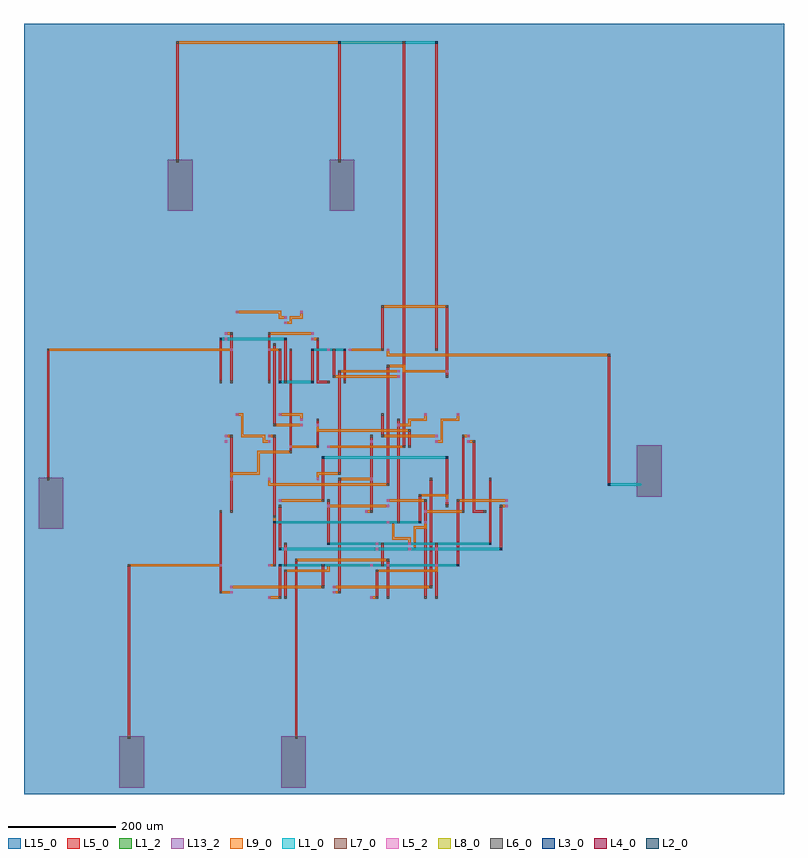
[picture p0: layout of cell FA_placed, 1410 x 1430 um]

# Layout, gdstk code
from math import pi, radians
import gdstk
lib = gdstk.Library(unit=1e-6, precision=1e-09)
def R(c, l, rs):  # rectangles x0, y0, x1, y1
    for r in rs: c.add(gdstk.rectangle(r[:2], r[2:], *l))
L1_0 = (1, 0)
L1_2 = (1, 2)
L2_0 = (2, 0)
L3_0 = (3, 0)
L4_0 = (4, 0)
L5_0 = (5, 0)
L5_2 = (5, 2)
L6_0 = (6, 0)
L7_0 = (7, 0)
L8_0 = (8, 0)
L9_0 = (9, 0)
L13_2 = (13, 2)
L15_0 = (15, 0)

via_via45 = lib.new_cell('VIA_VIA45')
R(via_via45, L7_0, [(-2.2,-2.2,2.2,2.2)])
R(via_via45, L8_0, [(-2.2,-2.2,2.2,2.2)])
R(via_via45, L9_0, [(-2.2,-2.2,2.2,2.2)])

via_via34 = lib.new_cell('VIA_VIA34')
R(via_via34, L5_0, [(-2.2,-2.2,2.2,2.2)])
R(via_via34, L6_0, [(-2.2,-2.2,2.2,2.2)])
R(via_via34, L7_0, [(-2.2,-2.2,2.2,2.2)])

via_via23 = lib.new_cell('VIA_VIA23')
R(via_via23, L3_0, [(-2.2,-2.2,2.2,2.2)])
R(via_via23, L4_0, [(-2.2,-2.2,2.2,2.2)])
R(via_via23, L5_0, [(-2.2,-2.2,2.2,2.2)])

via_via12 = lib.new_cell('VIA_VIA12')
R(via_via12, L1_0, [(-2.2,-2.2,2.2,2.2)])
R(via_via12, L2_0, [(-2.2,-2.2,2.2,2.2)])
R(via_via12, L3_0, [(-2.2,-2.2,2.2,2.2)])

pad = lib.new_cell('PAD')
R(pad, L1_2, [(27,12.5,73,107.5)])
R(pad, L13_2, [(27,12.5,73,107.5)])
R(pad, L15_0, [(0,0,100,120)])
pad.add(gdstk.Label('a', (50,60), layer=1, texttype=1))
pad.add(gdstk.Label('a', (50,60), layer=13, texttype=1))

thmitll_and2t = lib.new_cell('THmitll_AND2T')
R(thmitll_and2t, L5_2, [(2.8,2.8,7.2,7.2), (42.8,12.8,47.2,17.2), (42.8,22.8,47.2,27.2), (12.8,62.8,17.2,67.2)])
R(thmitll_and2t, L15_0, [(0,0,50,70)])
thmitll_and2t.add(gdstk.Label('a', (15,65), layer=5, texttype=1))
thmitll_and2t.add(gdstk.Label('clk', (5,5), layer=5, texttype=1))
thmitll_and2t.add(gdstk.Label('q', (45,25), layer=5, texttype=1))
thmitll_and2t.add(gdstk.Label('b', (45,15), layer=5, texttype=1))

thmitll_or2t = lib.new_cell('THmitll_OR2T')
R(thmitll_or2t, L5_2, [(2.8,2.8,7.2,7.2), (32.8,2.8,37.2,7.2), (2.8,62.8,7.2,67.2), (32.8,62.8,37.2,67.2)])
R(thmitll_or2t, L15_0, [(0,0,40,70)])
thmitll_or2t.add(gdstk.Label('b', (5,5), layer=5, texttype=1))
thmitll_or2t.add(gdstk.Label('q', (35,5), layer=5, texttype=1))
thmitll_or2t.add(gdstk.Label('clk', (35,65), layer=5, texttype=1))
thmitll_or2t.add(gdstk.Label('a', (5,65), layer=5, texttype=1))

thmitll_xort = lib.new_cell('THmitll_XORT')
R(thmitll_xort, L5_2, [(2.8,2.8,7.2,7.2), (32.8,2.8,37.2,7.2), (2.8,62.8,7.2,67.2), (42.8,62.8,47.2,67.2)])
R(thmitll_xort, L15_0, [(0,0,50,70)])
thmitll_xort.add(gdstk.Label('clk', (5,5), layer=5, texttype=1))
thmitll_xort.add(gdstk.Label('a', (5,65), layer=5, texttype=1))
thmitll_xort.add(gdstk.Label('b', (45,65), layer=5, texttype=1))
thmitll_xort.add(gdstk.Label('q', (35,5), layer=5, texttype=1))

thmitll_dfft = lib.new_cell('THmitll_DFFT')
R(thmitll_dfft, L5_2, [(2.8,2.8,7.2,7.2), (22.8,2.8,27.2,7.2), (22.8,62.8,27.2,67.2)])
R(thmitll_dfft, L15_0, [(0,0,30,70)])
thmitll_dfft.add(gdstk.Label('a', (5,5), layer=5, texttype=1))
thmitll_dfft.add(gdstk.Label('clk', (25,5), layer=5, texttype=1))
thmitll_dfft.add(gdstk.Label('q', (25,65), layer=5, texttype=1))

thmitll_splitt = lib.new_cell('THmitll_SPLITT')
R(thmitll_splitt, L5_2, [(22.8,12.8,27.2,17.2), (22.8,22.8,27.2,27.2), (2.8,62.8,7.2,67.2)])
R(thmitll_splitt, L15_0, [(0,0,30,70)])
thmitll_splitt.add(gdstk.Label('q1', (25,15), layer=5, texttype=1))
thmitll_splitt.add(gdstk.Label('q0', (25,25), layer=5, texttype=1))
thmitll_splitt.add(gdstk.Label('a', (5,65), layer=5, texttype=1))

fa_placed = lib.new_cell('FA_placed')
R(fa_placed, L15_0, [(0,0,1410,1430)])
fa_placed.add(gdstk.FlexPath([(585,1395),(765,1395)], 4.4, ends="extended", simple_path=True, layer=1, datatype=0))  # L1_0
fa_placed.add(gdstk.FlexPath([(1145,575),(1085,575)], 4.4, ends=(0, 2.2), simple_path=True, layer=1, datatype=0))  # L1_0
fa_placed.add(gdstk.FlexPath([(565,465),(865,465)], 4.4, ends="extended", simple_path=True, layer=1, datatype=0))  # L1_0
fa_placed.add(gdstk.FlexPath([(555,625),(785,625)], 4.4, ends="extended", simple_path=True, layer=1, datatype=0))  # L1_0
fa_placed.add(gdstk.FlexPath([(475,425),(805,425)], 4.4, ends="extended", simple_path=True, layer=1, datatype=0))  # L1_0
fa_placed.add(gdstk.FlexPath([(465,505),(735,505)], 4.4, ends="extended", simple_path=True, layer=1, datatype=0))  # L1_0
fa_placed.add(gdstk.FlexPath([(475,765),(535,765)], 4.4, ends="extended", simple_path=True, layer=1, datatype=0))  # L1_0
fa_placed.add(gdstk.FlexPath([(535,825),(595,825)], 4.4, ends="extended", simple_path=True, layer=1, datatype=0))  # L1_0
fa_placed.add(gdstk.FlexPath([(485,845),(365,845)], 4.4, ends="extended", simple_path=True, layer=1, datatype=0))  # L1_0
fa_placed.add(gdstk.FlexPath([(885,455),(475,455)], 4.4, ends="extended", simple_path=True, layer=1, datatype=0))  # L1_0
fa_placed.add(gdstk.FlexPath([(585,1175),(585,1395)], 4.4, ends="extended", simple_path=True, layer=5, datatype=0))  # L5_0
fa_placed.add(gdstk.FlexPath([(765,1395),(765,825)], 4.4, ends="extended", simple_path=True, layer=5, datatype=0))  # L5_0
fa_placed.add(gdstk.FlexPath([(1085,575),(1085,815)], 4.4, ends="extended", simple_path=True, layer=5, datatype=0))  # L5_0
fa_placed.add(gdstk.FlexPath([(195,105),(195,425)], 4.4, ends="extended", simple_path=True, layer=5, datatype=0))  # L5_0
fa_placed.add(gdstk.FlexPath([(505,105),(505,435)], 4.4, ends="extended", simple_path=True, layer=5, datatype=0))  # L5_0
fa_placed.add(gdstk.FlexPath([(675,435),(675,365)], 4.4, ends="extended", simple_path=True, layer=5, datatype=0))  # L5_0
fa_placed.add(gdstk.FlexPath([(45,585),(45,825)], 4.4, ends="extended", simple_path=True, layer=5, datatype=0))  # L5_0
fa_placed.add(gdstk.FlexPath([(755,385),(755,585)], 4.4, ends="extended", simple_path=True, layer=5, datatype=0))  # L5_0
fa_placed.add(gdstk.FlexPath([(565,545),(565,465)], 4.4, ends="extended", simple_path=True, layer=5, datatype=0))  # L5_0
fa_placed.add(gdstk.FlexPath([(865,465),(865,585)], 4.4, ends="extended", simple_path=True, layer=5, datatype=0))  # L5_0
fa_placed.add(gdstk.FlexPath([(745,545),(745,365)], 4.4, ends="extended", simple_path=True, layer=5, datatype=0))  # L5_0
fa_placed.add(gdstk.FlexPath([(555,545),(555,625)], 4.4, ends="extended", simple_path=True, layer=5, datatype=0))  # L5_0
fa_placed.add(gdstk.FlexPath([(785,625),(785,535)], 4.4, ends="extended", simple_path=True, layer=5, datatype=0))  # L5_0
fa_placed.add(gdstk.FlexPath([(475,365),(475,425)], 4.4, ends="extended", simple_path=True, layer=5, datatype=0))  # L5_0
fa_placed.add(gdstk.FlexPath([(805,425),(805,545)], 4.4, ends="extended", simple_path=True, layer=5, datatype=0))  # L5_0
fa_placed.add(gdstk.FlexPath([(465,425),(465,505)], 4.4, ends="extended", simple_path=True, layer=5, datatype=0))  # L5_0
fa_placed.add(gdstk.FlexPath([(735,505),(735,555)], 4.4, ends="extended", simple_path=True, layer=5, datatype=0))  # L5_0
fa_placed.add(gdstk.FlexPath([(485,415),(485,365)], 4.4, ends="extended", simple_path=True, layer=5, datatype=0))  # L5_0
fa_placed.add(gdstk.FlexPath([(655,365),(655,415)], 4.4, ends="extended", simple_path=True, layer=5, datatype=0))  # L5_0
fa_placed.add(gdstk.FlexPath([(585,785),(585,595)], 4.4, ends="extended", simple_path=True, layer=5, datatype=0))  # L5_0
fa_placed.add(gdstk.FlexPath([(675,795),(675,575)], 4.4, ends="extended", simple_path=True, layer=5, datatype=0))  # L5_0
fa_placed.add(gdstk.FlexPath([(475,825),(475,765)], 4.4, ends="extended", simple_path=True, layer=5, datatype=0))  # L5_0
fa_placed.add(gdstk.FlexPath([(535,765),(535,825)], 4.4, ends="extended", simple_path=True, layer=5, datatype=0))  # L5_0
fa_placed.add(gdstk.FlexPath([(595,825),(595,765)], 4.4, ends="extended", simple_path=True, layer=5, datatype=0))  # L5_0
fa_placed.add(gdstk.FlexPath([(495,825),(495,635)], 4.4, ends="extended", simple_path=True, layer=5, datatype=0))  # L5_0
fa_placed.add(gdstk.FlexPath([(485,765),(485,845)], 4.4, ends="extended", simple_path=True, layer=5, datatype=0))  # L5_0
fa_placed.add(gdstk.FlexPath([(365,845),(365,765)], 4.4, ends="extended", simple_path=True, layer=5, datatype=0))  # L5_0
fa_placed.add(gdstk.FlexPath([(555,385),(555,425)], 4.4, ends="extended", simple_path=True, layer=5, datatype=0))  # L5_0
fa_placed.add(gdstk.FlexPath([(885,535),(885,455)], 4.4, ends="extended", simple_path=True, layer=5, datatype=0))  # L5_0
fa_placed.add(gdstk.FlexPath([(475,455),(475,535)], 4.4, ends="extended", simple_path=True, layer=5, datatype=0))  # L5_0
fa_placed.add(gdstk.FlexPath([(665,825),(665,905)], 4.4, ends="extended", simple_path=True, layer=5, datatype=0))  # L5_0
fa_placed.add(gdstk.FlexPath([(785,905),(785,775)], 4.4, ends="extended", simple_path=True, layer=5, datatype=0))  # L5_0
fa_placed.add(gdstk.FlexPath([(575,825),(575,775)], 4.4, ends="extended", simple_path=True, layer=5, datatype=0))  # L5_0
fa_placed.add(gdstk.FlexPath([(585,375),(585,585)], 4.4, ends="extended", simple_path=True, layer=5, datatype=0))  # L5_0
fa_placed.add(gdstk.FlexPath([(365,525),(365,375)], 4.4, ends="extended", simple_path=True, layer=5, datatype=0))  # L5_0
fa_placed.add(gdstk.FlexPath([(715,645),(715,675)], 4.4, ends="extended", simple_path=True, layer=5, datatype=0))  # L5_0
fa_placed.add(gdstk.FlexPath([(545,645),(545,695)], 4.4, ends="extended", simple_path=True, layer=5, datatype=0))  # L5_0
fa_placed.add(gdstk.FlexPath([(385,665),(385,525)], 4.4, ends="extended", simple_path=True, layer=5, datatype=0))  # L5_0
fa_placed.add(gdstk.FlexPath([(765,365),(765,465)], 4.4, ends="extended", simple_path=True, layer=5, datatype=0))  # L5_0
fa_placed.add(gdstk.FlexPath([(385,855),(385,765)], 4.4, ends="extended", simple_path=True, layer=5, datatype=0))  # L5_0
fa_placed.add(gdstk.FlexPath([(665,465),(665,425)], 4.4, ends="extended", simple_path=True, layer=5, datatype=0))  # L5_0
fa_placed.add(gdstk.FlexPath([(485,425),(485,465)], 4.4, ends="extended", simple_path=True, layer=5, datatype=0))  # L5_0
fa_placed.add(gdstk.FlexPath([(645,525),(645,665)], 4.4, ends="extended", simple_path=True, layer=5, datatype=0))  # L5_0
fa_placed.add(gdstk.FlexPath([(465,835),(465,685)], 4.4, ends="extended", simple_path=True, layer=5, datatype=0))  # L5_0
fa_placed.add(gdstk.FlexPath([(465,665),(465,515)], 4.4, ends="extended", simple_path=True, layer=5, datatype=0))  # L5_0
fa_placed.add(gdstk.FlexPath([(545,845),(545,765)], 4.4, ends="extended", simple_path=True, layer=5, datatype=0))  # L5_0
fa_placed.add(gdstk.FlexPath([(545,765),(565,765)], 4.4, ends="extended", simple_path=True, layer=5, datatype=0))  # L5_0
fa_placed.add(gdstk.FlexPath([(455,765),(455,855)], 4.4, ends="extended", simple_path=True, layer=5, datatype=0))  # L5_0
fa_placed.add(gdstk.FlexPath([(695,505),(695,695)], 4.4, ends="extended", simple_path=True, layer=5, datatype=0))  # L5_0
fa_placed.add(gdstk.FlexPath([(665,705),(665,665)], 4.4, ends="extended", simple_path=True, layer=5, datatype=0))  # L5_0
fa_placed.add(gdstk.FlexPath([(835,655),(835,525)], 4.4, ends="extended", simple_path=True, layer=5, datatype=0))  # L5_0
fa_placed.add(gdstk.FlexPath([(835,525),(855,525)], 4.4, ends="extended", simple_path=True, layer=5, datatype=0))  # L5_0
fa_placed.add(gdstk.FlexPath([(815,665),(815,525)], 4.4, ends="extended", simple_path=True, layer=5, datatype=0))  # L5_0
fa_placed.add(gdstk.FlexPath([(285,1175),(285,1395)], 4.4, ends="extended", simple_path=True, layer=5, datatype=0))  # L5_0
fa_placed.add(gdstk.FlexPath([(705,1395),(705,645)], 4.4, ends="extended", simple_path=True, layer=5, datatype=0))  # L5_0
fa_placed.add(gdstk.FlexPath([(1085,815),(675,815)], 4.4, ends="extended", simple_path=True, layer=9, datatype=0))  # L9_0
fa_placed.add(gdstk.FlexPath([(675,815),(675,825)], 4.4, ends=(2.2, 0), simple_path=True, layer=9, datatype=0))  # L9_0
fa_placed.add(gdstk.FlexPath([(195,425),(365,425)], 4.4, ends=(2.2, 0), simple_path=True, layer=9, datatype=0))  # L9_0
fa_placed.add(gdstk.FlexPath([(505,435),(675,435)], 4.4, ends="extended", simple_path=True, layer=9, datatype=0))  # L9_0
fa_placed.add(gdstk.FlexPath([(45,825),(385,825)], 4.4, ends=(2.2, 0), simple_path=True, layer=9, datatype=0))  # L9_0
fa_placed.add(gdstk.FlexPath([(575,385),(755,385)], 4.4, ends=(0, 2.2), simple_path=True, layer=9, datatype=0))  # L9_0
fa_placed.add(gdstk.FlexPath([(675,545),(745,545)], 4.4, ends=(0, 2.2), simple_path=True, layer=9, datatype=0))  # L9_0
fa_placed.add(gdstk.FlexPath([(475,545),(555,545)], 4.4, ends=(0, 2.2), simple_path=True, layer=9, datatype=0))  # L9_0
fa_placed.add(gdstk.FlexPath([(455,365),(475,365)], 4.4, ends=(0, 2.2), simple_path=True, layer=9, datatype=0))  # L9_0
fa_placed.add(gdstk.FlexPath([(805,545),(895,545)], 4.4, ends=(2.2, 0), simple_path=True, layer=9, datatype=0))  # L9_0
fa_placed.add(gdstk.FlexPath([(455,425),(465,425)], 4.4, ends=(0, 2.2), simple_path=True, layer=9, datatype=0))  # L9_0
fa_placed.add(gdstk.FlexPath([(735,555),(785,555)], 4.4, ends="extended", simple_path=True, layer=9, datatype=0))  # L9_0
fa_placed.add(gdstk.FlexPath([(785,555),(785,545)], 4.4, ends=(2.2, 0), simple_path=True, layer=9, datatype=0))  # L9_0
fa_placed.add(gdstk.FlexPath([(645,425),(565,425)], 4.4, ends=(0, 2.2), simple_path=True, layer=9, datatype=0))  # L9_0
fa_placed.add(gdstk.FlexPath([(565,425),(565,415)], 4.4, ends="extended", simple_path=True, layer=9, datatype=0))  # L9_0
fa_placed.add(gdstk.FlexPath([(565,415),(485,415)], 4.4, ends="extended", simple_path=True, layer=9, datatype=0))  # L9_0
fa_placed.add(gdstk.FlexPath([(645,365),(655,365)], 4.4, ends=(0, 2.2), simple_path=True, layer=9, datatype=0))  # L9_0
fa_placed.add(gdstk.FlexPath([(655,415),(765,415)], 4.4, ends="extended", simple_path=True, layer=9, datatype=0))  # L9_0
fa_placed.add(gdstk.FlexPath([(765,415),(765,425)], 4.4, ends=(2.2, 0), simple_path=True, layer=9, datatype=0))  # L9_0
fa_placed.add(gdstk.FlexPath([(695,785),(585,785)], 4.4, ends=(0, 2.2), simple_path=True, layer=9, datatype=0))  # L9_0
fa_placed.add(gdstk.FlexPath([(585,595),(545,595)], 4.4, ends="extended", simple_path=True, layer=9, datatype=0))  # L9_0
fa_placed.add(gdstk.FlexPath([(545,595),(545,585)], 4.4, ends=(2.2, 0), simple_path=True, layer=9, datatype=0))  # L9_0
fa_placed.add(gdstk.FlexPath([(785,785),(705,785)], 4.4, ends=(0, 2.2), simple_path=True, layer=9, datatype=0))  # L9_0
fa_placed.add(gdstk.FlexPath([(705,785),(705,795)], 4.4, ends="extended", simple_path=True, layer=9, datatype=0))  # L9_0
fa_placed.add(gdstk.FlexPath([(705,795),(675,795)], 4.4, ends="extended", simple_path=True, layer=9, datatype=0))  # L9_0
fa_placed.add(gdstk.FlexPath([(675,575),(455,575)], 4.4, ends="extended", simple_path=True, layer=9, datatype=0))  # L9_0
fa_placed.add(gdstk.FlexPath([(455,575),(455,585)], 4.4, ends=(2.2, 0), simple_path=True, layer=9, datatype=0))  # L9_0
fa_placed.add(gdstk.FlexPath([(455,825),(475,825)], 4.4, ends=(0, 2.2), simple_path=True, layer=9, datatype=0))  # L9_0
fa_placed.add(gdstk.FlexPath([(495,635),(435,635)], 4.4, ends="extended", simple_path=True, layer=9, datatype=0))  # L9_0
fa_placed.add(gdstk.FlexPath([(435,635),(435,595)], 4.4, ends="extended", simple_path=True, layer=9, datatype=0))  # L9_0
fa_placed.add(gdstk.FlexPath([(435,595),(385,595)], 4.4, ends="extended", simple_path=True, layer=9, datatype=0))  # L9_0
fa_placed.add(gdstk.FlexPath([(385,595),(385,585)], 4.4, ends=(2.2, 0), simple_path=True, layer=9, datatype=0))  # L9_0
fa_placed.add(gdstk.FlexPath([(385,385),(555,385)], 4.4, ends=(0, 2.2), simple_path=True, layer=9, datatype=0))  # L9_0
fa_placed.add(gdstk.FlexPath([(895,535),(885,535)], 4.4, ends=(0, 2.2), simple_path=True, layer=9, datatype=0))  # L9_0
fa_placed.add(gdstk.FlexPath([(605,825),(665,825)], 4.4, ends=(0, 2.2), simple_path=True, layer=9, datatype=0))  # L9_0
fa_placed.add(gdstk.FlexPath([(665,905),(785,905)], 4.4, ends="extended", simple_path=True, layer=9, datatype=0))  # L9_0
fa_placed.add(gdstk.FlexPath([(565,535),(675,535)], 4.4, ends="flush", simple_path=True, layer=9, datatype=0))  # L9_0
fa_placed.add(gdstk.FlexPath([(565,825),(575,825)], 4.4, ends=(0, 2.2), simple_path=True, layer=9, datatype=0))  # L9_0
fa_placed.add(gdstk.FlexPath([(575,775),(695,775)], 4.4, ends=(2.2, 0), simple_path=True, layer=9, datatype=0))  # L9_0
fa_placed.add(gdstk.FlexPath([(575,375),(585,375)], 4.4, ends=(0, 2.2), simple_path=True, layer=9, datatype=0))  # L9_0
fa_placed.add(gdstk.FlexPath([(585,585),(645,585)], 4.4, ends=(2.2, 0), simple_path=True, layer=9, datatype=0))  # L9_0
fa_placed.add(gdstk.FlexPath([(365,375),(385,375)], 4.4, ends=(2.2, 0), simple_path=True, layer=9, datatype=0))  # L9_0
fa_placed.add(gdstk.FlexPath([(715,675),(545,675)], 4.4, ends="extended", simple_path=True, layer=9, datatype=0))  # L9_0
fa_placed.add(gdstk.FlexPath([(545,675),(545,685)], 4.4, ends=(2.2, 0), simple_path=True, layer=9, datatype=0))  # L9_0
fa_placed.add(gdstk.FlexPath([(495,645),(545,645)], 4.4, ends=(0, 2.2), simple_path=True, layer=9, datatype=0))  # L9_0
fa_placed.add(gdstk.FlexPath([(375,665),(385,665)], 4.4, ends=(0, 2.2), simple_path=True, layer=9, datatype=0))  # L9_0
fa_placed.add(gdstk.FlexPath([(375,855),(385,855)], 4.4, ends=(0, 2.2), simple_path=True, layer=9, datatype=0))  # L9_0
fa_placed.add(gdstk.FlexPath([(655,465),(665,465)], 4.4, ends=(0, 2.2), simple_path=True, layer=9, datatype=0))  # L9_0
fa_placed.add(gdstk.FlexPath([(665,425),(675,425)], 4.4, ends=(2.2, 0), simple_path=True, layer=9, datatype=0))  # L9_0
fa_placed.add(gdstk.FlexPath([(635,525),(645,525)], 4.4, ends=(0, 2.2), simple_path=True, layer=9, datatype=0))  # L9_0
fa_placed.add(gdstk.FlexPath([(465,685),(515,685)], 4.4, ends=(2.2, 0), simple_path=True, layer=9, datatype=0))  # L9_0
fa_placed.add(gdstk.FlexPath([(475,705),(515,705)], 4.4, ends=(0, 2.2), simple_path=True, layer=9, datatype=0))  # L9_0
fa_placed.add(gdstk.FlexPath([(515,705),(515,695)], 4.4, ends=(2.2, 0), simple_path=True, layer=9, datatype=0))  # L9_0
fa_placed.add(gdstk.FlexPath([(455,665),(465,665)], 4.4, ends=(0, 2.2), simple_path=True, layer=9, datatype=0))  # L9_0
fa_placed.add(gdstk.FlexPath([(465,515),(465,505)], 4.4, ends=(2.2, 0), simple_path=True, layer=9, datatype=0))  # L9_0
fa_placed.add(gdstk.FlexPath([(395,705),(405,705)], 4.4, ends=(0, 2.2), simple_path=True, layer=9, datatype=0))  # L9_0
fa_placed.add(gdstk.FlexPath([(405,705),(405,665)], 4.4, ends="extended", simple_path=True, layer=9, datatype=0))  # L9_0
fa_placed.add(gdstk.FlexPath([(405,665),(445,665)], 4.4, ends="extended", simple_path=True, layer=9, datatype=0))  # L9_0
fa_placed.add(gdstk.FlexPath([(445,665),(445,655)], 4.4, ends="extended", simple_path=True, layer=9, datatype=0))  # L9_0
fa_placed.add(gdstk.FlexPath([(445,655),(455,655)], 4.4, ends=(2.2, 0), simple_path=True, layer=9, datatype=0))  # L9_0
fa_placed.add(gdstk.FlexPath([(395,895),(475,895)], 4.4, ends=(0, 2.2), simple_path=True, layer=9, datatype=0))  # L9_0
fa_placed.add(gdstk.FlexPath([(475,895),(475,885)], 4.4, ends="extended", simple_path=True, layer=9, datatype=0))  # L9_0
fa_placed.add(gdstk.FlexPath([(475,885),(485,885)], 4.4, ends=(2.2, 0), simple_path=True, layer=9, datatype=0))  # L9_0
fa_placed.add(gdstk.FlexPath([(485,875),(495,875)], 4.4, ends=(0, 2.2), simple_path=True, layer=9, datatype=0))  # L9_0
fa_placed.add(gdstk.FlexPath([(495,875),(495,885)], 4.4, ends="extended", simple_path=True, layer=9, datatype=0))  # L9_0
fa_placed.add(gdstk.FlexPath([(495,885),(515,885)], 4.4, ends="extended", simple_path=True, layer=9, datatype=0))  # L9_0
fa_placed.add(gdstk.FlexPath([(515,885),(515,895)], 4.4, ends=(2.2, 0), simple_path=True, layer=9, datatype=0))  # L9_0
fa_placed.add(gdstk.FlexPath([(535,845),(545,845)], 4.4, ends=(0, 2.2), simple_path=True, layer=9, datatype=0))  # L9_0
fa_placed.add(gdstk.FlexPath([(455,855),(535,855)], 4.4, ends=(2.2, 0), simple_path=True, layer=9, datatype=0))  # L9_0
fa_placed.add(gdstk.FlexPath([(695,685),(715,685)], 4.4, ends=(0, 2.2), simple_path=True, layer=9, datatype=0))  # L9_0
fa_placed.add(gdstk.FlexPath([(715,685),(715,695)], 4.4, ends="extended", simple_path=True, layer=9, datatype=0))  # L9_0
fa_placed.add(gdstk.FlexPath([(715,695),(745,695)], 4.4, ends="extended", simple_path=True, layer=9, datatype=0))  # L9_0
fa_placed.add(gdstk.FlexPath([(745,695),(745,705)], 4.4, ends=(2.2, 0), simple_path=True, layer=9, datatype=0))  # L9_0
fa_placed.add(gdstk.FlexPath([(675,505),(685,505)], 4.4, ends=(0, 2.2), simple_path=True, layer=9, datatype=0))  # L9_0
fa_placed.add(gdstk.FlexPath([(685,505),(685,475)], 4.4, ends="extended", simple_path=True, layer=9, datatype=0))  # L9_0
fa_placed.add(gdstk.FlexPath([(685,475),(715,475)], 4.4, ends="extended", simple_path=True, layer=9, datatype=0))  # L9_0
fa_placed.add(gdstk.FlexPath([(715,475),(715,465)], 4.4, ends=(2.2, 0), simple_path=True, layer=9, datatype=0))  # L9_0
fa_placed.add(gdstk.FlexPath([(715,455),(725,455)], 4.4, ends=(0, 2.2), simple_path=True, layer=9, datatype=0))  # L9_0
fa_placed.add(gdstk.FlexPath([(725,455),(725,495)], 4.4, ends="extended", simple_path=True, layer=9, datatype=0))  # L9_0
fa_placed.add(gdstk.FlexPath([(725,495),(745,495)], 4.4, ends="extended", simple_path=True, layer=9, datatype=0))  # L9_0
fa_placed.add(gdstk.FlexPath([(745,495),(745,505)], 4.4, ends=(2.2, 0), simple_path=True, layer=9, datatype=0))  # L9_0
fa_placed.add(gdstk.FlexPath([(665,665),(765,665)], 4.4, ends=(2.2, 0), simple_path=True, layer=9, datatype=0))  # L9_0
fa_placed.add(gdstk.FlexPath([(765,655),(775,655)], 4.4, ends=(0, 2.2), simple_path=True, layer=9, datatype=0))  # L9_0
fa_placed.add(gdstk.FlexPath([(775,655),(775,695)], 4.4, ends="extended", simple_path=True, layer=9, datatype=0))  # L9_0
fa_placed.add(gdstk.FlexPath([(775,695),(805,695)], 4.4, ends="extended", simple_path=True, layer=9, datatype=0))  # L9_0
fa_placed.add(gdstk.FlexPath([(805,695),(805,705)], 4.4, ends=(2.2, 0), simple_path=True, layer=9, datatype=0))  # L9_0
fa_placed.add(gdstk.FlexPath([(825,655),(835,655)], 4.4, ends=(0, 2.2), simple_path=True, layer=9, datatype=0))  # L9_0
fa_placed.add(gdstk.FlexPath([(825,665),(815,665)], 4.4, ends=(0, 2.2), simple_path=True, layer=9, datatype=0))  # L9_0
fa_placed.add(gdstk.FlexPath([(815,525),(745,525)], 4.4, ends=(2.2, 0), simple_path=True, layer=9, datatype=0))  # L9_0
fa_placed.add(gdstk.FlexPath([(285,1395),(705,1395)], 4.4, ends="extended", simple_path=True, layer=9, datatype=0))  # L9_0
fa_placed.add(gdstk.FlexPath([(705,645),(565,645)], 4.4, ends=(2.2, 0), simple_path=True, layer=9, datatype=0))  # L9_0
fa_placed.add(gdstk.Reference(via_via45, (565,545)))
fa_placed.add(gdstk.Reference(via_via34, (565,545)))
fa_placed.add(gdstk.Reference(via_via23, (565,465)))
fa_placed.add(gdstk.Reference(via_via12, (565,465)))
fa_placed.add(gdstk.Reference(via_via34, (565,765)))
fa_placed.add(gdstk.Reference(via_via45, (565,765)))
fa_placed.add(gdstk.Reference(via_via34, (765,825)))
fa_placed.add(gdstk.Reference(via_via45, (765,825)))
fa_placed.add(gdstk.Reference(via_via34, (1085,815)))
fa_placed.add(gdstk.Reference(via_via45, (1085,815)))
fa_placed.add(gdstk.Reference(via_via45, (585,1175)))
fa_placed.add(gdstk.Reference(via_via34, (585,1175)))
fa_placed.add(gdstk.Reference(via_via23, (585,1395)))
fa_placed.add(gdstk.Reference(via_via12, (585,1395)))
fa_placed.add(gdstk.Reference(via_via45, (585,785)))
fa_placed.add(gdstk.Reference(via_via34, (585,785)))
fa_placed.add(gdstk.Reference(via_via45, (675,795)))
fa_placed.add(gdstk.Reference(via_via34, (675,795)))
fa_placed.add(gdstk.Reference(via_via12, (595,825)))
fa_placed.add(gdstk.Reference(via_via23, (595,825)))
fa_placed.add(gdstk.Reference(via_via34, (595,765)))
fa_placed.add(gdstk.Reference(via_via45, (595,765)))
fa_placed.add(gdstk.Reference(via_via45, (665,825)))
fa_placed.add(gdstk.Reference(via_via34, (665,825)))
fa_placed.add(gdstk.Reference(via_via34, (665,905)))
fa_placed.add(gdstk.Reference(via_via45, (665,905)))
fa_placed.add(gdstk.Reference(via_via45, (785,905)))
fa_placed.add(gdstk.Reference(via_via34, (785,905)))
fa_placed.add(gdstk.Reference(via_via34, (785,775)))
fa_placed.add(gdstk.Reference(via_via45, (785,775)))
fa_placed.add(gdstk.Reference(via_via45, (575,825)))
fa_placed.add(gdstk.Reference(via_via34, (575,825)))
fa_placed.add(gdstk.Reference(via_via34, (575,775)))
fa_placed.add(gdstk.Reference(via_via45, (575,775)))
fa_placed.add(gdstk.Reference(via_via12, (765,1395)))
fa_placed.add(gdstk.Reference(via_via23, (765,1395)))
fa_placed.add(gdstk.Reference(via_via45, (705,1395)))
fa_placed.add(gdstk.Reference(via_via34, (705,1395)))
fa_placed.add(gdstk.Reference(via_via12, (365,845)))
fa_placed.add(gdstk.Reference(via_via23, (365,845)))
fa_placed.add(gdstk.Reference(via_via34, (365,765)))
fa_placed.add(gdstk.Reference(via_via45, (365,765)))
fa_placed.add(gdstk.Reference(via_via23, (475,765)))
fa_placed.add(gdstk.Reference(via_via12, (475,765)))
fa_placed.add(gdstk.Reference(via_via12, (535,765)))
fa_placed.add(gdstk.Reference(via_via23, (535,765)))
fa_placed.add(gdstk.Reference(via_via23, (535,825)))
fa_placed.add(gdstk.Reference(via_via12, (535,825)))
fa_placed.add(gdstk.Reference(via_via34, (45,825)))
fa_placed.add(gdstk.Reference(via_via45, (45,825)))
fa_placed.add(gdstk.Reference(via_via45, (475,825)))
fa_placed.add(gdstk.Reference(via_via34, (475,825)))
fa_placed.add(gdstk.Reference(via_via45, (495,825)))
fa_placed.add(gdstk.Reference(via_via34, (495,825)))
fa_placed.add(gdstk.Reference(via_via45, (385,855)))
fa_placed.add(gdstk.Reference(via_via34, (385,855)))
fa_placed.add(gdstk.Reference(via_via34, (385,765)))
fa_placed.add(gdstk.Reference(via_via45, (385,765)))
fa_placed.add(gdstk.Reference(via_via45, (465,835)))
fa_placed.add(gdstk.Reference(via_via34, (465,835)))
fa_placed.add(gdstk.Reference(via_via45, (545,845)))
fa_placed.add(gdstk.Reference(via_via34, (545,845)))
fa_placed.add(gdstk.Reference(via_via45, (485,765)))
fa_placed.add(gdstk.Reference(via_via34, (485,765)))
fa_placed.add(gdstk.Reference(via_via45, (455,765)))
fa_placed.add(gdstk.Reference(via_via34, (455,765)))
fa_placed.add(gdstk.Reference(via_via34, (455,855)))
fa_placed.add(gdstk.Reference(via_via45, (455,855)))
fa_placed.add(gdstk.Reference(via_via45, (285,1175)))
fa_placed.add(gdstk.Reference(via_via34, (285,1175)))
fa_placed.add(gdstk.Reference(via_via34, (285,1395)))
fa_placed.add(gdstk.Reference(via_via45, (285,1395)))
fa_placed.add(gdstk.Reference(via_via23, (485,845)))
fa_placed.add(gdstk.Reference(via_via12, (485,845)))
fa_placed.add(gdstk.Reference(via_via12, (475,455)))
fa_placed.add(gdstk.Reference(via_via23, (475,455)))
fa_placed.add(gdstk.Reference(via_via34, (475,535)))
fa_placed.add(gdstk.Reference(via_via45, (475,535)))
fa_placed.add(gdstk.Reference(via_via34, (505,435)))
fa_placed.add(gdstk.Reference(via_via45, (505,435)))
fa_placed.add(gdstk.Reference(via_via45, (45,585)))
fa_placed.add(gdstk.Reference(via_via34, (45,585)))
fa_placed.add(gdstk.Reference(via_via45, (195,105)))
fa_placed.add(gdstk.Reference(via_via34, (195,105)))
fa_placed.add(gdstk.Reference(via_via34, (195,425)))
fa_placed.add(gdstk.Reference(via_via45, (195,425)))
fa_placed.add(gdstk.Reference(via_via45, (505,105)))
fa_placed.add(gdstk.Reference(via_via34, (505,105)))
fa_placed.add(gdstk.Reference(via_via45, (555,545)))
fa_placed.add(gdstk.Reference(via_via34, (555,545)))
fa_placed.add(gdstk.Reference(via_via45, (365,525)))
fa_placed.add(gdstk.Reference(via_via34, (365,525)))
fa_placed.add(gdstk.Reference(via_via34, (365,375)))
fa_placed.add(gdstk.Reference(via_via45, (365,375)))
fa_placed.add(gdstk.Reference(via_via45, (545,645)))
fa_placed.add(gdstk.Reference(via_via34, (545,645)))
fa_placed.add(gdstk.Reference(via_via34, (545,695)))
fa_placed.add(gdstk.Reference(via_via45, (545,695)))
fa_placed.add(gdstk.Reference(via_via45, (385,665)))
fa_placed.add(gdstk.Reference(via_via34, (385,665)))
fa_placed.add(gdstk.Reference(via_via34, (385,525)))
fa_placed.add(gdstk.Reference(via_via45, (385,525)))
fa_placed.add(gdstk.Reference(via_via23, (555,625)))
fa_placed.add(gdstk.Reference(via_via12, (555,625)))
fa_placed.add(gdstk.Reference(via_via45, (475,365)))
fa_placed.add(gdstk.Reference(via_via34, (475,365)))
fa_placed.add(gdstk.Reference(via_via45, (485,425)))
fa_placed.add(gdstk.Reference(via_via34, (485,425)))
fa_placed.add(gdstk.Reference(via_via34, (485,465)))
fa_placed.add(gdstk.Reference(via_via45, (485,465)))
fa_placed.add(gdstk.Reference(via_via23, (475,425)))
fa_placed.add(gdstk.Reference(via_via12, (475,425)))
fa_placed.add(gdstk.Reference(via_via34, (465,685)))
fa_placed.add(gdstk.Reference(via_via45, (465,685)))
fa_placed.add(gdstk.Reference(via_via45, (465,665)))
fa_placed.add(gdstk.Reference(via_via34, (465,665)))
fa_placed.add(gdstk.Reference(via_via34, (465,515)))
fa_placed.add(gdstk.Reference(via_via45, (465,515)))
fa_placed.add(gdstk.Reference(via_via34, (495,635)))
fa_placed.add(gdstk.Reference(via_via45, (495,635)))
fa_placed.add(gdstk.Reference(via_via45, (465,425)))
fa_placed.add(gdstk.Reference(via_via34, (465,425)))
fa_placed.add(gdstk.Reference(via_via23, (465,505)))
fa_placed.add(gdstk.Reference(via_via12, (465,505)))
fa_placed.add(gdstk.Reference(via_via45, (485,415)))
fa_placed.add(gdstk.Reference(via_via34, (485,415)))
fa_placed.add(gdstk.Reference(via_via34, (485,365)))
fa_placed.add(gdstk.Reference(via_via45, (485,365)))
fa_placed.add(gdstk.Reference(via_via45, (555,385)))
fa_placed.add(gdstk.Reference(via_via34, (555,385)))
fa_placed.add(gdstk.Reference(via_via34, (555,425)))
fa_placed.add(gdstk.Reference(via_via45, (555,425)))
fa_placed.add(gdstk.Reference(via_via45, (585,375)))
fa_placed.add(gdstk.Reference(via_via34, (585,375)))
fa_placed.add(gdstk.Reference(via_via34, (585,585)))
fa_placed.add(gdstk.Reference(via_via45, (585,585)))
fa_placed.add(gdstk.Reference(via_via34, (755,585)))
fa_placed.add(gdstk.Reference(via_via45, (755,585)))
fa_placed.add(gdstk.Reference(via_via34, (675,365)))
fa_placed.add(gdstk.Reference(via_via45, (675,365)))
fa_placed.add(gdstk.Reference(via_via45, (715,645)))
fa_placed.add(gdstk.Reference(via_via34, (715,645)))
fa_placed.add(gdstk.Reference(via_via34, (715,675)))
fa_placed.add(gdstk.Reference(via_via45, (715,675)))
fa_placed.add(gdstk.Reference(via_via12, (805,425)))
fa_placed.add(gdstk.Reference(via_via23, (805,425)))
fa_placed.add(gdstk.Reference(via_via34, (805,545)))
fa_placed.add(gdstk.Reference(via_via45, (805,545)))
fa_placed.add(gdstk.Reference(via_via12, (1085,575)))
fa_placed.add(gdstk.Reference(via_via23, (1085,575)))
fa_placed.add(gdstk.Reference(via_via12, (865,465)))
fa_placed.add(gdstk.Reference(via_via23, (865,465)))
fa_placed.add(gdstk.Reference(via_via45, (765,365)))
fa_placed.add(gdstk.Reference(via_via34, (765,365)))
fa_placed.add(gdstk.Reference(via_via34, (765,465)))
fa_placed.add(gdstk.Reference(via_via45, (765,465)))
fa_placed.add(gdstk.Reference(via_via12, (735,505)))
fa_placed.add(gdstk.Reference(via_via23, (735,505)))
fa_placed.add(gdstk.Reference(via_via34, (735,555)))
fa_placed.add(gdstk.Reference(via_via45, (735,555)))
fa_placed.add(gdstk.Reference(via_via45, (665,465)))
fa_placed.add(gdstk.Reference(via_via34, (665,465)))
fa_placed.add(gdstk.Reference(via_via34, (665,425)))
fa_placed.add(gdstk.Reference(via_via45, (665,425)))
fa_placed.add(gdstk.Reference(via_via34, (865,585)))
fa_placed.add(gdstk.Reference(via_via45, (865,585)))
fa_placed.add(gdstk.Reference(via_via45, (745,545)))
fa_placed.add(gdstk.Reference(via_via34, (745,545)))
fa_placed.add(gdstk.Reference(via_via45, (645,525)))
fa_placed.add(gdstk.Reference(via_via34, (645,525)))
fa_placed.add(gdstk.Reference(via_via34, (645,665)))
fa_placed.add(gdstk.Reference(via_via45, (645,665)))
fa_placed.add(gdstk.Reference(via_via45, (655,365)))
fa_placed.add(gdstk.Reference(via_via34, (655,365)))
fa_placed.add(gdstk.Reference(via_via45, (885,535)))
fa_placed.add(gdstk.Reference(via_via34, (885,535)))
fa_placed.add(gdstk.Reference(via_via23, (885,455)))
fa_placed.add(gdstk.Reference(via_via12, (885,455)))
fa_placed.add(gdstk.Reference(via_via34, (655,415)))
fa_placed.add(gdstk.Reference(via_via45, (655,415)))
fa_placed.add(gdstk.Reference(via_via34, (745,365)))
fa_placed.add(gdstk.Reference(via_via45, (745,365)))
fa_placed.add(gdstk.Reference(via_via34, (585,595)))
fa_placed.add(gdstk.Reference(via_via45, (585,595)))
fa_placed.add(gdstk.Reference(via_via45, (675,435)))
fa_placed.add(gdstk.Reference(via_via34, (675,435)))
fa_placed.add(gdstk.Reference(via_via34, (675,575)))
fa_placed.add(gdstk.Reference(via_via45, (675,575)))
fa_placed.add(gdstk.Reference(via_via45, (695,505)))
fa_placed.add(gdstk.Reference(via_via34, (695,505)))
fa_placed.add(gdstk.Reference(via_via34, (695,695)))
fa_placed.add(gdstk.Reference(via_via45, (695,695)))
fa_placed.add(gdstk.Reference(via_via45, (665,705)))
fa_placed.add(gdstk.Reference(via_via34, (665,705)))
fa_placed.add(gdstk.Reference(via_via34, (665,665)))
fa_placed.add(gdstk.Reference(via_via45, (665,665)))
fa_placed.add(gdstk.Reference(via_via45, (835,655)))
fa_placed.add(gdstk.Reference(via_via34, (835,655)))
fa_placed.add(gdstk.Reference(via_via34, (855,525)))
fa_placed.add(gdstk.Reference(via_via45, (855,525)))
fa_placed.add(gdstk.Reference(via_via45, (815,665)))
fa_placed.add(gdstk.Reference(via_via34, (815,665)))
fa_placed.add(gdstk.Reference(via_via34, (815,525)))
fa_placed.add(gdstk.Reference(via_via45, (815,525)))
fa_placed.add(gdstk.Reference(via_via45, (755,385)))
fa_placed.add(gdstk.Reference(via_via34, (755,385)))
fa_placed.add(gdstk.Reference(via_via12, (785,625)))
fa_placed.add(gdstk.Reference(via_via23, (785,625)))
fa_placed.add(gdstk.Reference(via_via34, (785,535)))
fa_placed.add(gdstk.Reference(via_via45, (785,535)))
fa_placed.add(gdstk.Reference(via_via34, (705,645)))
fa_placed.add(gdstk.Reference(via_via45, (705,645)))
fa_placed.add(gdstk.Reference(pad, (240,1070)))
fa_placed.add(gdstk.Reference(pad, (540,1070)))
fa_placed.add(gdstk.Reference(pad, (1110,540)))
fa_placed.add(gdstk.Reference(pad, (150,0)))
fa_placed.add(gdstk.Reference(pad, (450,0)))
fa_placed.add(gdstk.Reference(pad, (0,480)))
fa_placed.add(gdstk.Reference(thmitll_and2t, (630,520)))
fa_placed.add(gdstk.Reference(thmitll_and2t, (850,520)))
fa_placed.add(gdstk.Reference(thmitll_and2t, (740,520)))
fa_placed.add(gdstk.Reference(thmitll_or2t, (450,360)))
fa_placed.add(gdstk.Reference(thmitll_or2t, (640,360)))
fa_placed.add(gdstk.Reference(thmitll_xort, (560,760)))
fa_placed.add(gdstk.Reference(thmitll_xort, (450,760)))
fa_placed.add(gdstk.Reference(thmitll_dfft, (360,760)))
fa_placed.add(gdstk.Reference(thmitll_dfft, (740,360)))
fa_placed.add(gdstk.Reference(thmitll_dfft, (360,520)))
fa_placed.add(gdstk.Reference(thmitll_splitt, (450,520)))
fa_placed.add(gdstk.Reference(thmitll_splitt, (760,760)))
fa_placed.add(gdstk.Reference(thmitll_splitt, (540,520)))
fa_placed.add(gdstk.Reference(thmitll_splitt, (670,760)))
fa_placed.add(gdstk.Reference(thmitll_splitt, (550,360)))
fa_placed.add(gdstk.Reference(thmitll_splitt, (360,360)))
fa_placed.add(gdstk.Reference(thmitll_splitt, (800,640)))
fa_placed.add(gdstk.Reference(thmitll_splitt, (740,640)))
fa_placed.add(gdstk.Reference(thmitll_splitt, (690,440)))
fa_placed.add(gdstk.Reference(thmitll_splitt, (720,710), rotation=pi))
fa_placed.add(gdstk.Reference(thmitll_splitt, (510,830)))
fa_placed.add(gdstk.Reference(thmitll_splitt, (460,900), x_reflection=True))
fa_placed.add(gdstk.Reference(thmitll_splitt, (480,640), rotation=pi, x_reflection=True))
fa_placed.add(gdstk.Reference(thmitll_splitt, (490,710), x_reflection=True))
fa_placed.add(gdstk.Reference(thmitll_splitt, (670,640), rotation=pi, x_reflection=True))
fa_placed.add(gdstk.Reference(thmitll_splitt, (460,440)))
fa_placed.add(gdstk.Reference(thmitll_splitt, (680,440), rotation=pi, x_reflection=True))
fa_placed.add(gdstk.Reference(thmitll_splitt, (400,830), rotation=pi, x_reflection=True))
fa_placed.add(gdstk.Reference(thmitll_splitt, (740,440)))
fa_placed.add(gdstk.Reference(thmitll_splitt, (400,640), rotation=pi, x_reflection=True))
fa_placed.add(gdstk.Reference(thmitll_splitt, (570,710), rotation=pi))

lib.write_gds('FA_placed.gds')
